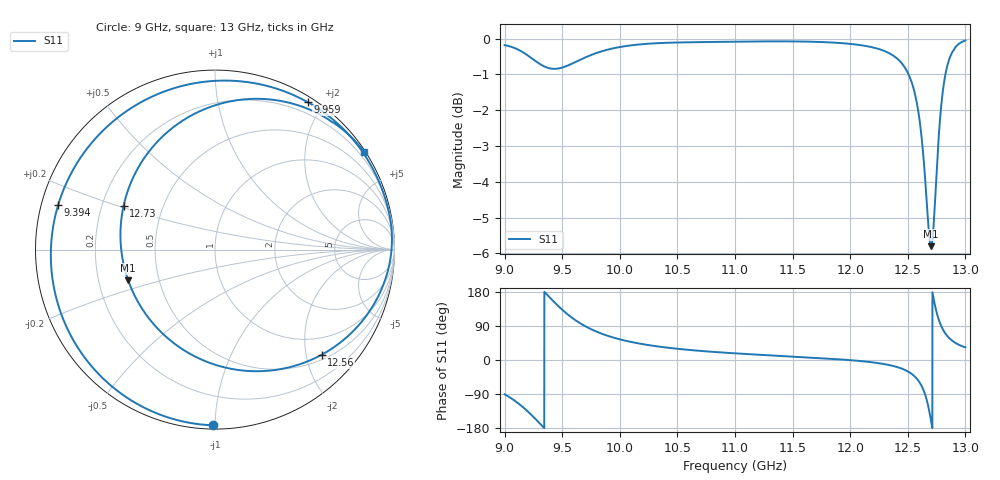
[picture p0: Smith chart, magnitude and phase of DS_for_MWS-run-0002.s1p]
! TOUCHSTONE file generated by CST DESIGN STUDIO
! Date and time: Tue Feb  4 16:27:40 2025
! Project name: C:\Work\MatlabApps\UnitCellOptimizationMatlab\CST\unitcell.cst
! Tree item: Tasks\Sweep1\SPara1\S-Parameters
! Header version: 2024
! Port assignment regex: !\s*Touchstone port\s*([0-9]+)\s*=\s*(CST MWS port|CST DES external port|CST DES block port)\s*(.+)\s* \(\"(.*)\"\)(\s*mode\s*([0-9]+))?.*
! Touchstone port assignment:
! Touchstone port 1 = CST DES external port 1 ("")
# GHz S MA R 50
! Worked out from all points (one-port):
!   4001 points, 9 GHz to 13 GHz, reference 50 ohm
!   lowest |S11| = -5.8 dB at 12.7 GHz (marker M1), VSWR 3.11, Z = 16.5 - j7.66 ohm
!   |S11| at or under -10 dB: nowhere
!   S11 on the Smith chart (normalised r, x): 9 GHz: 0.02, -0.99; 9.394 GHz: 0.05, +0.14; 9.959 GHz: 0.06, +1.81; 12.56 GHz: 0.60, -2.31; 12.73 GHz: 0.29, +0.21; 13 GHz: 0.04, +3.34
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9  0.979 -90.5
9.097  0.9684 -109.5
9.183  0.9514 -130.7
9.295  0.9239 -164.0
9.394  0.9085 164.2
9.5  0.9108 132.7
9.582  0.9219 112.2
9.675  0.9371 93.4
9.811  0.9562 73.2
9.959  0.9702 57.9
10  0.9731 54.5
10.5  0.9874 29.6
11  0.99 17.6
11.5  0.9908 9.1
12  0.983 -0.4
12.304  0.9597 -11.2
12.5  0.8958 -30.1
12.564  0.8344 -44.6
12.607  0.759 -61.4
12.647  0.6486 -88.0
12.674  0.5614 -117.2
12.702  0.513 -160.6
12.729  0.5649 154.3
12.767  0.7234 108.1
12.806  0.8489 79.9
12.844  0.9175 63.0
12.886  0.957 50.8
13  0.9938 33.3
